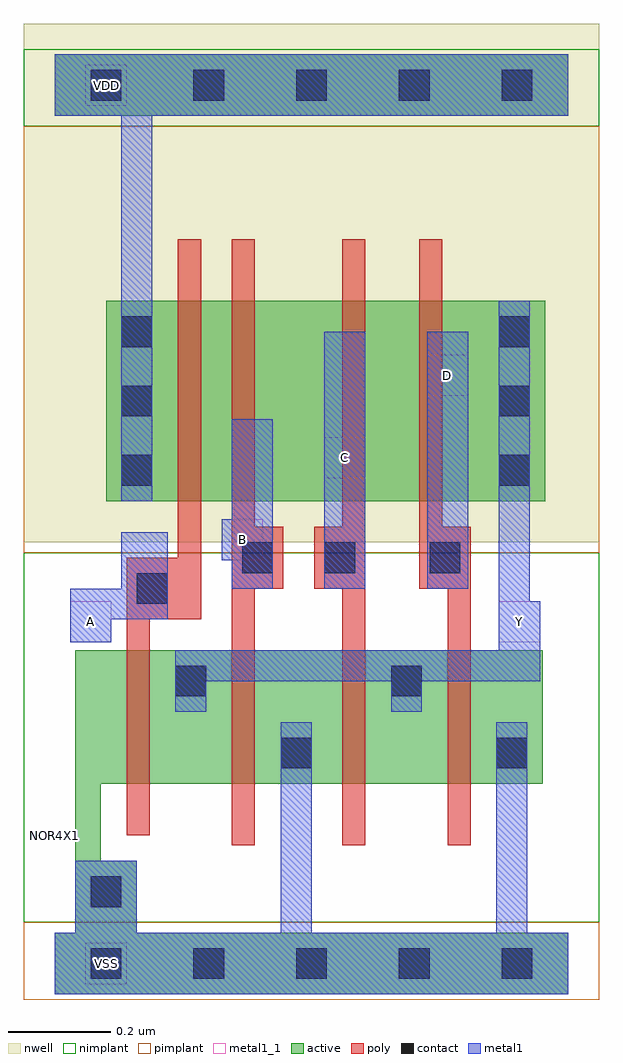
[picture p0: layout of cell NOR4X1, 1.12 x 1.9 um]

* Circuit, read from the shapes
.subckt NOR4X1 A B C D VDD VSS Y
M1 Y A VSS VSS nfet w=0.26u l=0.045u
M2 VSS B Y VSS nfet w=0.26u l=0.045u
M3 Y C VSS VSS nfet w=0.26u l=0.045u
M4 VSS D Y VSS nfet w=0.26u l=0.045u
M5 n1 A VDD VDD pfet w=0.39u l=0.045u
M6 n2 B n1 VDD pfet w=0.39u l=0.045u
M7 n3 C n2 VDD pfet w=0.39u l=0.045u
M8 Y D n3 VDD pfet w=0.39u l=0.045u
.ends

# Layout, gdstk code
import gdstk
lib = gdstk.Library(unit=1e-6, precision=5e-10)
def R(c, l, rs):  # rectangles x0, y0, x1, y1
    for r in rs: c.add(gdstk.rectangle(r[:2], r[2:], *l))
def A(c, l, x, y, w, h, nx, ny, dx, dy):  # array of equal rectangles
    R(c, l, [(x+i*dx, y+j*dy, x+i*dx+w, y+j*dy+h) for i in range(nx) for j in range(ny)])
def P(c, l, *ps):  # polygons
    for p in ps: c.add(gdstk.Polygon(p, *l))
active = (1, 0)
nwell = (2, 0)
poly = (3, 0)
nimplant = (4, 0)
pimplant = (5, 0)
contact = (6, 0)
metal1 = (7, 0)
metal1_1 = (7, 1)

nor4x1 = lib.new_cell('NOR4X1')
R(nor4x1, active, [(0,-0.06,1,0.06), (0.04,0.055,0.09,0.36), (0.055,0.055,0.16,0.2), (0.04,0.35,0.95,0.61), (0.1,0.9,0.955,1.29), (0,1.65,1,1.77)])
R(nor4x1, nwell, [(-0.06,0.82,1.06,1.83)])
P(nor4x1, poly, [(0.24,1.41),(0.285,1.41),(0.285,0.67),(0.185,0.67),(0.185,0.25),(0.14,0.25),(0.14,0.79),(0.24,0.79)],
  [(0.345,1.41),(0.39,1.41),(0.39,0.85),(0.445,0.85),(0.445,0.73),(0.39,0.73),(0.39,0.23),(0.345,0.23)],
  [(0.56,1.41),(0.605,1.41),(0.605,0.23),(0.56,0.23),(0.56,0.73),(0.505,0.73),(0.505,0.85),(0.56,0.85)],
  [(0.71,1.41),(0.755,1.41),(0.755,0.85),(0.81,0.85),(0.81,0.23),(0.765,0.23),(0.765,0.73),(0.71,0.73)])
R(nor4x1, nimplant, [(-0.06,0.08,1.06,0.8), (-0.06,1.63,1.06,1.78)])
R(nor4x1, pimplant, [(-0.06,-0.07,1.06,0.08), (-0.06,0.8,1.06,1.63)])
A(nor4x1, contact, 0.07, -0.03, 0.06, 0.06, 5, 2, 0.2, 1.71)
A(nor4x1, contact, 0.13, 0.93, 0.06, 0.06, 1, 3, 0, 0.135)
A(nor4x1, contact, 0.865, 0.93, 0.06, 0.06, 1, 3, 0, 0.135)
R(nor4x1, contact, [(0.07,0.11,0.13,0.17), (0.44,0.38,0.5,0.44), (0.86,0.38,0.92,0.44), (0.235,0.52,0.295,0.58), (0.655,0.52,0.715,0.58), (0.16,0.7,0.22,0.76), (0.365,0.76,0.425,0.82), (0.525,0.76,0.585,0.82), (0.73,0.76,0.79,0.82)])
R(nor4x1, metal1, [(0.05,0.05,0.16,0.2), (0.525,0.73,0.605,1.23), (0.725,0.73,0.805,1.23)])
P(nor4x1, metal1, [(0.22,0.84),(0.13,0.84),(0.13,0.73),(0.03,0.73),(0.03,0.625),(0.11,0.625),(0.11,0.67),(0.22,0.67)],
  [(0.04,0.2),(0.09,0.2),(0.09,0.06),(0.44,0.06),(0.44,0.47),(0.5,0.47),(0.5,0.06),(0.86,0.06),(0.86,0.47),(0.92,0.47),(0.92,0.06),(1,0.06),(1,-0.06),(0,-0.06),(0,0.06),(0.04,0.06)],
  [(0,1.77),(1,1.77),(1,1.65),(0.19,1.65),(0.19,0.9),(0.13,0.9),(0.13,1.65),(0,1.65)],
  [(0.865,1.29),(0.925,1.29),(0.925,0.705),(0.945,0.705),(0.945,0.55),(0.715,0.55),(0.715,0.49),(0.655,0.49),(0.655,0.55),(0.295,0.55),(0.295,0.49),(0.235,0.49),(0.235,0.61),(0.865,0.61)],
  [(0.425,1.06),(0.345,1.06),(0.345,0.865),(0.325,0.865),(0.325,0.785),(0.345,0.785),(0.345,0.73),(0.425,0.73)])
R(nor4x1, metal1_1, [(0.06,-0.04,0.14,0.04), (0.03,0.625,0.11,0.705), (0.865,0.625,0.945,0.705), (0.325,0.785,0.405,0.865), (0.525,0.945,0.605,1.025), (0.725,1.105,0.805,1.185), (0.06,1.67,0.14,1.75)])
nor4x1.add(gdstk.Label('VSS', (0.1,0), layer=7, texttype=1))
nor4x1.add(gdstk.Label('Y', (0.905,0.665), layer=7, texttype=1))
nor4x1.add(gdstk.Label('A', (0.07,0.665), layer=7, texttype=1))
nor4x1.add(gdstk.Label('B', (0.365,0.825), layer=7, texttype=1))
nor4x1.add(gdstk.Label('C', (0.565,0.985), layer=7, texttype=1))
nor4x1.add(gdstk.Label('D', (0.765,1.145), layer=7, texttype=1))
nor4x1.add(gdstk.Label('VDD', (0.1,1.71), layer=7, texttype=1))
nor4x1.add(gdstk.Label('NOR4X1', (0,0.25), layer=63, texttype=0))

lib.write_gds('NOR4X1.gds')
